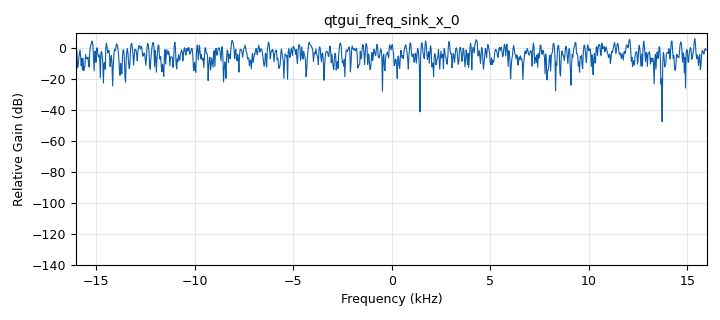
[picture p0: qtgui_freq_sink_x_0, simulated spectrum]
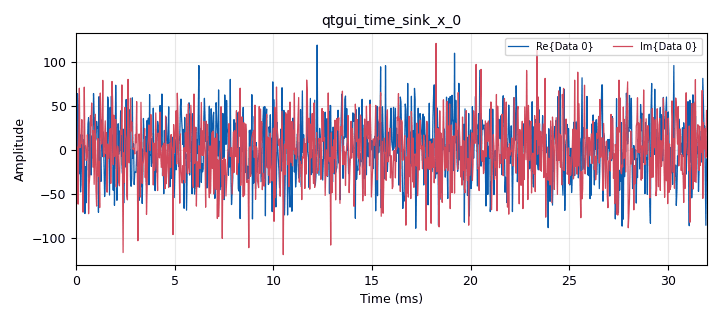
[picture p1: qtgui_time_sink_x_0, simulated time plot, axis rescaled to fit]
options:
  parameters:
    author: Studente
    generate_options: qt_gui
    id: parta
    output_language: python
    title: Not titled yet
  states: {}

blocks:
- name: amp
  id: variable_qtgui_range
  parameters:
    start: '0'
    step: '1'
    stop: '100'
    value: '50'
  states: {}
- name: samp_rate
  id: variable
  parameters:
    value: '32000'
  states: {}
- name: analog_noise_source_x_0
  id: analog_noise_source_x
  parameters:
    amp: amp
    noise_type: analog.GR_GAUSSIAN
    seed: '0'
    type: complex
  states: {}
- name: blocks_throttle2_0
  id: blocks_throttle2
  parameters:
    samples_per_second: samp_rate
    type: complex
  states: {}
- name: qtgui_freq_sink_x_0
  id: qtgui_freq_sink_x
  parameters:
    bw: samp_rate
    fc: '0'
    fftsize: '1024'
    type: complex
  states: {}
- name: qtgui_time_sink_x_0
  id: qtgui_time_sink_x
  parameters:
    size: '1024'
    srate: samp_rate
    type: complex
  states: {}

connections:
- [analog_noise_source_x_0, '0', blocks_throttle2_0, '0']
- [blocks_throttle2_0, '0', qtgui_freq_sink_x_0, '0']
- [blocks_throttle2_0, '0', qtgui_time_sink_x_0, '0']

metadata:
  file_format: 1
  grc_version: 3.10.7.0
